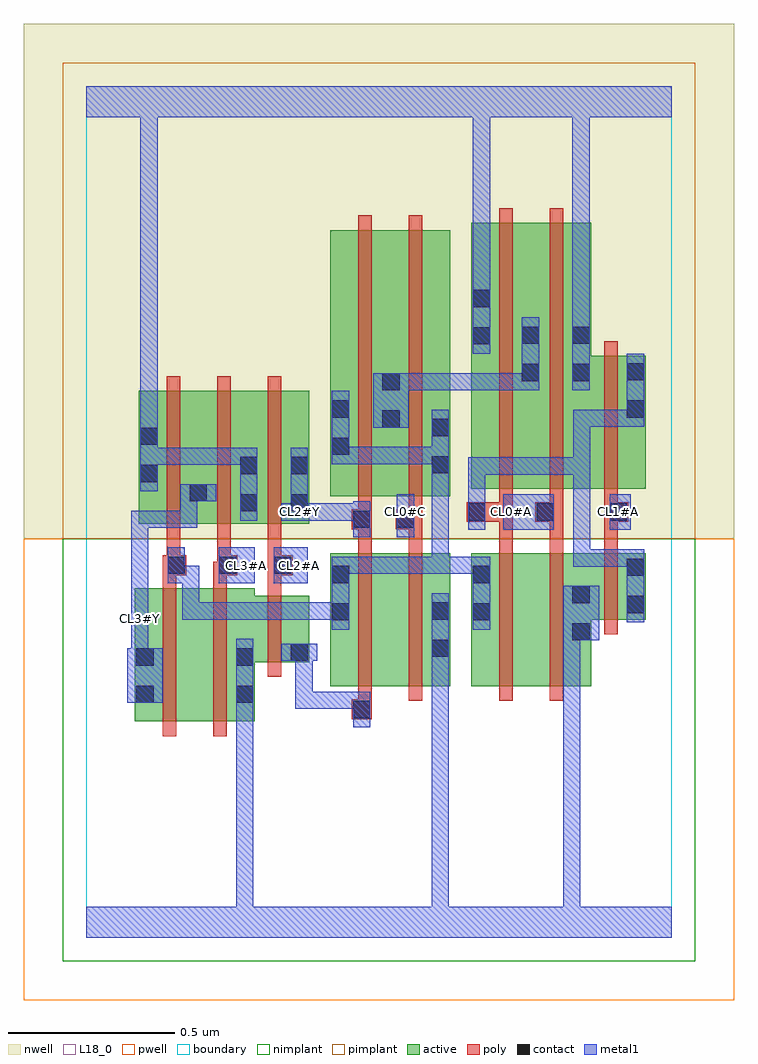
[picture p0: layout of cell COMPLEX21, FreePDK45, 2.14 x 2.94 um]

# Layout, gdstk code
import gdstk
lib = gdstk.Library(unit=1e-6, precision=1e-09)
def R(c, l, rs):  # rectangles x0, y0, x1, y1
    for r in rs: c.add(gdstk.rectangle(r[:2], r[2:], *l))
def A(c, l, x, y, w, h, nx, ny, dx, dy):  # array of equal rectangles
    R(c, l, [(x+i*dx, y+j*dy, x+i*dx+w, y+j*dy+h) for i in range(nx) for j in range(ny)])
active = (1, 0)
pwell = (2, 0)
nwell = (3, 0)
nimplant = (4, 0)
pimplant = (5, 0)
poly = (9, 0)
contact = (10, 0)
metal1 = (11, 0)
L18_0 = (18, 0)
boundary = (235, 0)

complex21 = lib.new_cell('COMPLEX21')
A(complex21, active, 0.306, 1.244, 0.06, 0.4, 3, 1, 0.152, 0)
R(complex21, active, [(0.146,0.65,0.206,1.05), (0.146,0.65,0.326,1.05), (0.326,0.65,0.506,1.05), (0.446,0.702,0.506,1.028), (0.734,0.756,0.794,1.156), (0.734,0.756,0.914,1.156), (0.914,0.756,1.094,1.156), (1.034,0.756,1.094,1.156), (1.158,0.756,1.218,1.156), (1.158,0.756,1.338,1.156), (1.338,0.756,1.518,1.156), (1.458,0.756,1.518,1.156), (0.446,0.828,0.67,1.028), (0.61,0.828,0.67,1.028), (1.458,0.956,1.682,1.156), (1.622,0.956,1.682,1.156), (0.158,1.244,0.218,1.644), (0.158,1.244,0.366,1.644), (0.306,1.244,0.518,1.644), (0.458,1.244,0.67,1.644), (0.734,1.328,0.946,2.128), (0.734,1.328,0.794,2.044), (0.886,1.328,1.094,2.128), (1.034,1.328,1.094,2.044), (1.158,1.35,1.366,2.15), (1.306,1.35,1.518,2.15), (1.306,1.35,1.366,2.044), (1.458,1.35,1.682,1.75), (1.458,1.35,1.518,2.15), (1.622,1.35,1.682,1.75), (1.158,1.452,1.218,2.15), (0.886,1.498,0.946,2.044)])
R(complex21, pwell, [(-0.188,-0.188,1.948,1.2)])
R(complex21, nwell, [(-0.188,1.2,1.948,2.748)])
R(complex21, nimplant, [(-0.072,-0.072,1.832,1.2)])
R(complex21, pimplant, [(-0.072,1.2,1.832,2.632)])
A(complex21, poly, 0.242, 1.11, 0.04, 0.13, 3, 1, 0.152, 0)
A(complex21, poly, 0.242, 1.2, 0.04, 0.488, 3, 1, 0.152, 0)
R(complex21, poly, [(0.23,0.606,0.27,1.094), (0.382,0.606,0.422,1.094), (0.798,0.656,0.858,0.716), (0.818,0.676,0.858,0.752), (0.818,0.712,0.858,1.2), (0.97,0.712,1.01,1.2), (1.242,0.712,1.282,1.2), (1.394,0.712,1.434,1.2), (0.546,0.784,0.586,1.072), (1.558,0.912,1.598,1.2), (0.546,1.032,0.586,1.13), (0.23,1.054,0.27,1.13), (0.382,1.054,0.422,1.13), (0.23,1.09,0.3,1.15), (0.382,1.09,0.434,1.13), (0.394,1.09,0.434,1.13), (0.394,1.09,0.454,1.15), (0.546,1.09,0.62,1.15), (0.242,1.11,0.282,1.15), (0.242,1.11,0.282,1.15), (0.546,1.11,0.586,1.15), (0.546,1.11,0.586,1.15), (0.818,1.16,0.858,1.268), (0.97,1.16,1.01,1.268), (1.242,1.16,1.282,1.29), (1.394,1.16,1.434,1.29), (1.558,1.16,1.598,1.29), (0.798,1.228,0.858,1.288), (0.818,1.228,0.858,1.268), (0.818,1.228,0.858,1.268), (0.93,1.228,1.01,1.288), (0.97,1.228,1.01,1.268), (0.97,1.228,1.01,1.268), (0.818,1.248,0.858,1.324), (0.97,1.248,1.01,1.324), (1.144,1.25,1.282,1.31), (1.242,1.25,1.282,1.29), (1.242,1.25,1.282,1.29), (1.35,1.25,1.434,1.31), (1.558,1.25,1.598,1.29), (1.558,1.25,1.598,1.29), (1.558,1.25,1.63,1.31), (1.242,1.27,1.282,1.346), (1.394,1.27,1.434,1.346), (1.394,1.27,1.434,1.31), (1.394,1.27,1.434,1.31), (1.558,1.27,1.598,1.346), (0.818,1.284,0.858,2.172), (0.97,1.284,1.01,2.172), (1.242,1.306,1.282,2.194), (1.394,1.306,1.434,2.194), (1.558,1.306,1.598,1.794)])
R(complex21, contact, [(0.802,0.66,0.854,0.712), (0.15,0.706,0.202,0.758), (0.45,0.706,0.502,0.758), (0.15,0.818,0.202,0.87), (0.45,0.818,0.502,0.87), (0.614,0.832,0.666,0.884), (1.038,0.844,1.09,0.896), (1.462,0.894,1.514,0.946), (0.738,0.954,0.79,1.006), (1.162,0.954,1.214,1.006), (1.038,0.956,1.09,1.008), (1.626,0.976,1.678,1.028), (1.462,1.006,1.514,1.058), (0.738,1.066,0.79,1.118), (1.162,1.066,1.214,1.118), (1.626,1.088,1.678,1.14), (0.244,1.094,0.296,1.146), (0.398,1.094,0.45,1.146), (0.564,1.094,0.616,1.146), (0.802,1.232,0.854,1.284), (0.934,1.232,0.986,1.284), (1.148,1.254,1.2,1.306), (1.354,1.254,1.406,1.306), (1.574,1.254,1.626,1.306), (0.462,1.282,0.514,1.334), (0.614,1.282,0.666,1.334), (0.31,1.312,0.362,1.364), (0.162,1.37,0.214,1.422), (0.462,1.394,0.514,1.446), (0.614,1.394,0.666,1.446), (1.038,1.396,1.09,1.448), (0.738,1.452,0.79,1.504), (0.162,1.482,0.214,1.534), (1.038,1.508,1.09,1.56), (0.89,1.534,0.942,1.586), (0.738,1.564,0.79,1.616), (1.626,1.564,1.678,1.616), (0.89,1.646,0.942,1.698), (1.31,1.674,1.362,1.726), (1.462,1.674,1.514,1.726), (1.626,1.676,1.678,1.728), (1.162,1.784,1.214,1.836), (1.31,1.786,1.362,1.838), (1.462,1.786,1.514,1.838), (1.162,1.896,1.214,1.948)])
R(complex21, metal1, [(0,0,1.76,0.092), (0.45,0.04,0.502,0.092), (0.45,0.04,0.502,0.092), (0.45,0.04,0.502,0.092), (0.45,0.04,0.502,0.092), (0.45,0.04,0.502,0.73), (1.038,0.04,1.09,0.092), (1.038,0.04,1.09,0.092), (1.038,0.04,1.09,0.092), (1.038,0.04,1.09,0.092), (1.038,0.04,1.09,0.092), (1.038,0.04,1.09,0.092), (1.038,0.04,1.09,0.092), (1.038,0.04,1.09,0.092), (1.038,0.04,1.09,0.868), (1.434,0.04,1.486,0.092), (1.434,0.04,1.486,0.092), (1.434,0.04,1.486,0.946), (0.802,0.632,0.854,0.74), (0.45,0.678,0.502,0.898), (0.45,0.678,0.502,0.73), (0.45,0.678,0.502,0.73), (0.45,0.678,0.502,0.73), (0.45,0.678,0.502,0.73), (0.45,0.678,0.502,0.73), (0.45,0.678,0.502,0.73), (0.45,0.678,0.502,0.73), (0.45,0.678,0.502,0.73), (0.628,0.688,0.68,0.74), (0.628,0.688,0.68,0.884), (0.628,0.688,0.79,0.74), (0.738,0.688,0.79,0.74), (0.738,0.688,0.854,0.74), (0.122,0.706,0.23,0.87), (1.038,0.816,1.09,1.036), (1.038,0.816,1.09,0.868), (1.038,0.816,1.09,0.868), (1.038,0.816,1.09,0.868), (1.038,0.816,1.09,0.868), (0.134,0.818,0.186,0.958), (0.586,0.832,0.694,0.884), (0.628,0.832,0.68,0.884), (0.628,0.832,0.68,0.884), (0.628,0.832,0.68,0.884), (0.628,0.832,0.68,0.884), (1.434,0.894,1.486,0.946), (1.434,0.894,1.486,0.946), (1.434,0.894,1.486,0.946), (1.434,0.894,1.486,0.946), (1.434,0.894,1.486,0.946), (1.434,0.894,1.486,0.946), (1.434,0.894,1.486,0.946), (1.434,0.894,1.486,0.946), (1.434,0.894,1.486,0.946), (1.434,0.894,1.486,0.946), (1.434,0.894,1.542,1.058), (0.134,0.906,0.186,1.014), (0.738,0.926,0.79,1.146), (1.162,0.926,1.214,1.146), (1.626,0.948,1.678,1.168), (0.288,0.956,0.502,1.008), (0.288,0.956,0.34,1.118), (0.45,0.956,0.502,1.008), (0.45,0.956,0.502,1.008), (0.45,0.956,0.502,1.008), (0.45,0.956,0.502,1.008), (0.45,0.956,0.502,1.008), (0.45,0.956,0.616,1.008), (0.564,0.956,0.616,1.008), (0.564,0.956,0.616,1.008), (0.564,0.956,0.616,1.008), (0.564,0.956,0.79,1.008), (0.134,0.962,0.186,1.284), (0.244,1.066,0.296,1.174), (0.244,1.066,0.34,1.118), (0.398,1.066,0.506,1.174), (0.564,1.066,0.666,1.174), (0.738,1.094,0.804,1.146), (0.752,1.094,0.804,1.146), (0.752,1.094,0.934,1.146), (0.882,1.094,0.934,1.146), (0.882,1.094,0.934,1.146), (0.882,1.094,0.934,1.146), (0.882,1.094,1.09,1.146), (1.038,1.094,1.09,1.146), (1.038,1.094,1.09,1.146), (1.038,1.094,1.09,1.146), (1.038,1.094,1.214,1.146), (1.038,1.094,1.09,1.42), (1.464,1.116,1.678,1.168), (1.464,1.116,1.516,1.168), (1.464,1.116,1.516,1.168), (1.464,1.116,1.516,1.168), (1.464,1.116,1.516,1.444), (0.802,1.204,0.854,1.312), (0.934,1.204,0.986,1.334), (1.148,1.226,1.2,1.444), (1.254,1.226,1.406,1.334), (1.574,1.226,1.638,1.334), (0.134,1.232,0.186,1.284), (0.134,1.232,0.19,1.284), (0.138,1.232,0.19,1.284), (0.138,1.232,0.334,1.284), (0.282,1.232,0.334,1.284), (0.282,1.232,0.334,1.364), (0.462,1.254,0.514,1.474), (0.586,1.254,0.694,1.306), (0.614,1.254,0.666,1.474), (0.614,1.254,0.666,1.306), (0.642,1.254,0.726,1.306), (0.674,1.254,0.726,1.306), (0.674,1.254,0.854,1.306), (0.282,1.312,0.39,1.364), (0.162,1.342,0.214,1.562), (1.038,1.368,1.09,1.588), (1.038,1.368,1.09,1.42), (1.038,1.368,1.09,1.42), (1.148,1.392,1.324,1.444), (1.272,1.392,1.324,1.444), (1.272,1.392,1.324,1.444), (1.272,1.392,1.324,1.444), (1.272,1.392,1.516,1.444), (1.464,1.392,1.516,1.444), (1.464,1.392,1.516,1.444), (1.464,1.392,1.516,1.444), (1.464,1.392,1.516,1.588), (0.162,1.422,0.214,1.474), (0.162,1.422,0.214,1.474), (0.162,1.422,0.392,1.474), (0.34,1.422,0.392,1.474), (0.34,1.422,0.506,1.474), (0.454,1.422,0.506,1.474), (0.454,1.422,0.514,1.474), (0.738,1.424,0.79,1.644), (0.738,1.424,0.804,1.476), (0.752,1.424,0.804,1.476), (0.752,1.424,0.98,1.476), (0.928,1.424,0.98,1.476), (0.928,1.424,1.09,1.476), (1.038,1.424,1.09,1.476), (1.038,1.424,1.09,1.476), (0.162,1.51,0.214,1.562), (0.162,1.51,0.214,1.562), (0.162,1.51,0.214,1.562), (0.162,1.51,0.214,1.562), (0.162,1.51,0.214,2.52), (0.862,1.534,0.97,1.698), (1.464,1.536,1.678,1.588), (1.464,1.536,1.516,1.588), (1.464,1.536,1.516,1.588), (1.464,1.536,1.516,1.588), (1.626,1.536,1.678,1.756), (0.918,1.646,0.97,1.698), (0.918,1.646,0.97,1.698), (0.918,1.646,1.09,1.698), (1.038,1.646,1.09,1.698), (1.038,1.646,1.2,1.698), (1.148,1.646,1.362,1.698), (1.148,1.646,1.2,1.698), (1.148,1.646,1.2,1.698), (1.148,1.646,1.2,1.698), (1.148,1.646,1.2,1.698), (1.148,1.646,1.2,1.698), (1.31,1.646,1.362,1.866), (1.462,1.646,1.514,1.866), (1.162,1.756,1.214,1.976), (1.462,1.814,1.514,1.866), (1.462,1.814,1.514,1.866), (1.462,1.814,1.514,2.52), (1.162,1.924,1.214,2.52), (0,2.468,1.76,2.56), (0.162,2.468,0.214,2.52), (0.162,2.468,0.214,2.52), (0.162,2.468,0.214,2.52), (0.162,2.468,0.214,2.52), (0.162,2.468,0.214,2.52), (0.162,2.468,0.214,2.52), (0.162,2.468,0.214,2.52), (0.162,2.468,0.214,2.52), (0.162,2.468,0.214,2.52), (0.162,2.468,0.214,2.52), (0.162,2.468,0.214,2.52), (0.162,2.468,0.214,2.52), (1.162,2.468,1.214,2.52), (1.162,2.468,1.214,2.52), (1.162,2.468,1.214,2.52), (1.162,2.468,1.214,2.52), (1.162,2.468,1.214,2.52), (1.162,2.468,1.214,2.52), (1.162,2.468,1.214,2.52), (1.162,2.468,1.214,2.52), (1.462,2.468,1.514,2.52), (1.462,2.468,1.514,2.52), (1.462,2.468,1.514,2.52), (1.462,2.468,1.514,2.52), (1.462,2.468,1.514,2.52), (1.462,2.468,1.514,2.52)])
A(complex21, L18_0, 0.934, 1.254, 0.052, 0.052, 3, 1, 0.32, 0)
R(complex21, L18_0, [(0,0,1.76,0.092), (0.45,0.04,0.502,0.092), (0.45,0.04,0.502,0.092), (0.45,0.04,0.502,0.092), (0.45,0.04,0.502,0.092), (0.45,0.04,0.502,0.73), (1.038,0.04,1.09,0.092), (1.038,0.04,1.09,0.092), (1.038,0.04,1.09,0.092), (1.038,0.04,1.09,0.092), (1.038,0.04,1.09,0.092), (1.038,0.04,1.09,0.092), (1.038,0.04,1.09,0.092), (1.038,0.04,1.09,0.092), (1.038,0.04,1.09,0.868), (1.434,0.04,1.486,0.092), (1.434,0.04,1.486,0.092), (1.434,0.04,1.486,0.946), (0.802,0.632,0.854,0.74), (0.45,0.678,0.502,0.73), (0.45,0.678,0.502,0.73), (0.45,0.678,0.502,0.73), (0.45,0.678,0.502,0.73), (0.45,0.678,0.502,0.73), (0.45,0.678,0.502,0.73), (0.45,0.678,0.502,0.73), (0.45,0.678,0.502,0.73), (0.45,0.678,0.502,0.898), (0.628,0.688,0.68,0.74), (0.628,0.688,0.68,0.884), (0.628,0.688,0.79,0.74), (0.738,0.688,0.79,0.74), (0.738,0.688,0.854,0.74), (0.122,0.706,0.23,0.87), (1.038,0.816,1.09,0.868), (1.038,0.816,1.09,0.868), (1.038,0.816,1.09,0.868), (1.038,0.816,1.09,0.868), (1.038,0.816,1.09,1.036), (0.134,0.818,0.186,0.958), (0.586,0.832,0.694,0.884), (0.628,0.832,0.68,0.884), (0.628,0.832,0.68,0.884), (0.628,0.832,0.68,0.884), (0.628,0.832,0.68,0.884), (1.434,0.894,1.542,1.058), (1.434,0.894,1.486,0.946), (1.434,0.894,1.486,0.946), (1.434,0.894,1.486,0.946), (1.434,0.894,1.486,0.946), (1.434,0.894,1.486,0.946), (1.434,0.894,1.486,0.946), (1.434,0.894,1.486,0.946), (1.434,0.894,1.486,0.946), (1.434,0.894,1.486,0.946), (1.434,0.894,1.486,0.946), (0.134,0.906,0.186,1.014), (0.134,0.934,0.186,0.986), (0.134,0.962,0.186,1.284), (0.398,1.066,0.506,1.174), (0.564,1.066,0.666,1.174), (0.454,1.094,0.506,1.146), (0.614,1.094,0.666,1.146), (0.802,1.204,0.854,1.312), (0.934,1.204,0.986,1.334), (1.254,1.226,1.406,1.334), (1.574,1.226,1.638,1.334), (0.134,1.232,0.186,1.284), (0.134,1.232,0.19,1.284), (0.138,1.232,0.19,1.284), (0.138,1.232,0.334,1.284), (0.282,1.232,0.334,1.284), (0.282,1.232,0.334,1.364), (0.462,1.254,0.514,1.474), (0.586,1.254,0.694,1.306), (0.614,1.254,0.666,1.306), (0.614,1.254,0.666,1.306), (0.614,1.254,0.666,1.474), (0.642,1.254,0.726,1.306), (0.674,1.254,0.726,1.306), (0.674,1.254,0.854,1.306), (0.282,1.312,0.39,1.364), (0.162,1.342,0.214,1.562), (0.162,1.422,0.214,1.474), (0.162,1.422,0.214,1.474), (0.162,1.422,0.392,1.474), (0.34,1.422,0.392,1.474), (0.34,1.422,0.506,1.474), (0.454,1.422,0.506,1.474), (0.454,1.422,0.514,1.474), (0.162,1.51,0.214,1.562), (0.162,1.51,0.214,1.562), (0.162,1.51,0.214,1.562), (0.162,1.51,0.214,1.562), (0.162,1.51,0.214,2.52), (1.462,1.646,1.514,1.866), (1.162,1.756,1.214,1.976), (1.462,1.814,1.514,1.866), (1.462,1.814,1.514,1.866), (1.462,1.814,1.514,2.52), (1.162,1.924,1.214,2.52), (0,2.468,1.76,2.56), (0.162,2.468,0.214,2.52), (0.162,2.468,0.214,2.52), (0.162,2.468,0.214,2.52), (0.162,2.468,0.214,2.52), (0.162,2.468,0.214,2.52), (0.162,2.468,0.214,2.52), (0.162,2.468,0.214,2.52), (0.162,2.468,0.214,2.52), (0.162,2.468,0.214,2.52), (0.162,2.468,0.214,2.52), (0.162,2.468,0.214,2.52), (0.162,2.468,0.214,2.52), (1.162,2.468,1.214,2.52), (1.162,2.468,1.214,2.52), (1.162,2.468,1.214,2.52), (1.162,2.468,1.214,2.52), (1.162,2.468,1.214,2.52), (1.162,2.468,1.214,2.52), (1.162,2.468,1.214,2.52), (1.162,2.468,1.214,2.52), (1.462,2.468,1.514,2.52), (1.462,2.468,1.514,2.52), (1.462,2.468,1.514,2.52), (1.462,2.468,1.514,2.52), (1.462,2.468,1.514,2.52), (1.462,2.468,1.514,2.52)])
R(complex21, boundary, [(0,0,1.76,2.56)])
complex21.add(gdstk.Label('CL0#A', (1.28,1.28), layer=11, texttype=0))
complex21.add(gdstk.Label('CL0#C', (0.96,1.28), layer=11, texttype=0))
complex21.add(gdstk.Label('CL1#A', (1.6,1.28), layer=11, texttype=0))
complex21.add(gdstk.Label('CL2#A', (0.64,1.12), layer=11, texttype=0))
complex21.add(gdstk.Label('CL2#Y', (0.64,1.28), layer=11, texttype=0))
complex21.add(gdstk.Label('CL3#A', (0.48,1.12), layer=11, texttype=0))
complex21.add(gdstk.Label('CL3#Y', (0.16,0.96), layer=11, texttype=0))

lib.write_gds('COMPLEX21.gds')
